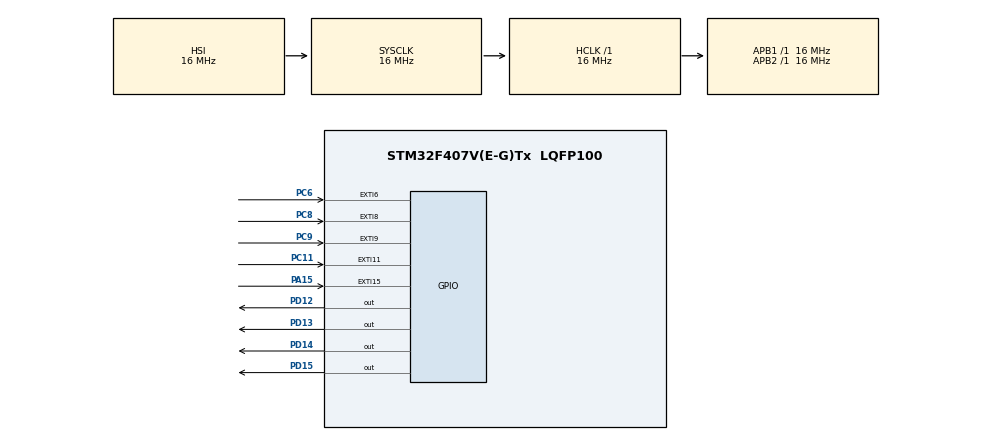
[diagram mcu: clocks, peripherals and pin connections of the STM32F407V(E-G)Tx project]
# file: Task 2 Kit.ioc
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Mcu.Family=STM32F4
Mcu.Name=STM32F407V(E-G)Tx
Mcu.Package=LQFP100
NVIC.EXTI15_10_IRQn=true\:0\:0\:false\:false\:true\:true\:true\:true
NVIC.EXTI9_5_IRQn=true\:0\:0\:false\:false\:true\:true\:true\:true
NVIC.PriorityGroup=NVIC_PRIORITYGROUP_4
PA15.GPIO_ModeDefaultEXTI=GPIO_MODE_IT_FALLING
PA15.Signal=GPXTI15
PC11.GPIO_ModeDefaultEXTI=GPIO_MODE_IT_FALLING
PC11.Signal=GPXTI11
PC6.GPIO_ModeDefaultEXTI=GPIO_MODE_IT_FALLING
PC6.GPIO_PuPd=GPIO_NOPULL
PC6.Signal=GPXTI6
PC8.GPIO_ModeDefaultEXTI=GPIO_MODE_IT_FALLING
PC8.GPIO_PuPd=GPIO_NOPULL
PC8.Signal=GPXTI8
PC9.GPIO_ModeDefaultEXTI=GPIO_MODE_IT_FALLING
PC9.GPIO_PuPd=GPIO_NOPULL
PC9.Signal=GPXTI9
PD12.Signal=GPIO_Output
PD13.Signal=GPIO_Output
PD14.Signal=GPIO_Output
PD15.Signal=GPIO_Output
ProjectManager.HeapSize=0x200
ProjectManager.StackSize=0x400
ProjectManager.TargetToolchain=STM32CubeIDE
RCC.AHBFreq_Value=16000000
RCC.APB1Freq_Value=16000000
RCC.APB2Freq_Value=16000000
RCC.CortexFreq_Value=16000000
RCC.HSE_VALUE=25000000
RCC.HSI_VALUE=16000000
RCC.LSE_VALUE=32768
RCC.SYSCLKFreq_VALUE=16000000
RCC.VCOOutputFreq_Value=192000000
board=custom

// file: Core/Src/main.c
/* USER CODE BEGIN Header */
/**
  ******************************************************************************
  * @file           : main.c
  * @brief          : Main program body
  ******************************************************************************
  * @attention
  *
  * Copyright (c) 2023 STMicroelectronics.
  * All rights reserved.
  *
  * This software is licensed under terms that can be found in the LICENSE file
  * in the root directory of this software component.
  * If no LICENSE file comes with this software, it is provided AS-IS.
  *
  ******************************************************************************
  */
/* USER CODE END Header */
#include "main.h"

void SystemClock_Config(void);
static void MX_GPIO_Init(void);

int main(void)
{

  /* MCU Configuration--------------------------------------------------------*/

  /* Reset of all peripherals, Initializes the Flash interface and the Systick. */
  HAL_Init();

  /* Configure the system clock */
  SystemClock_Config();

  /* Initialize all configured peripherals */
  MX_GPIO_Init();

  /* Infinite loop */
  /* USER CODE BEGIN WHILE */
  while (1)
	    {
	  	int speed = (getspeed());
	  	if (getlight())
	  	{
	  		switch (getmode())
	  		{
	  		case 1:
	  	  		HAL_Delay(speed);
	  	  		HAL_GPIO_WritePin(GPIOD, GPIO_PIN_12, GPIO_PIN_SET);
	  	  		HAL_Delay(speed);
	  	  		HAL_GPIO_WritePin(GPIOD, GPIO_PIN_12, GPIO_PIN_RESET);
	  	  		HAL_Delay(speed);
	  	  		HAL_GPIO_WritePin(GPIOD, GPIO_PIN_13, GPIO_PIN_SET);
	  	  		HAL_Delay(speed);
	  	  		HAL_GPIO_WritePin(GPIOD, GPIO_PIN_13, GPIO_PIN_RESET);
	  	  		HAL_Delay(speed);
	  	  		HAL_GPIO_WritePin(GPIOD, GPIO_PIN_14, GPIO_PIN_SET);
	  	  		HAL_Delay(speed);
	  	  		HAL_GPIO_WritePin(GPIOD, GPIO_PIN_14, GPIO_PIN_RESET);
	  	  		HAL_Delay(speed);
	  	  		HAL_GPIO_WritePin(GPIOD, GPIO_PIN_15, GPIO_PIN_SET);
	  	  		HAL_Delay(speed);
	  	  		HAL_GPIO_WritePin(GPIOD, GPIO_PIN_15, GPIO_PIN_RESET);
	  	  		break;
	  	  	case 2:
	  	  		HAL_Delay(speed);
	  	  		HAL_GPIO_WritePin(GPIOD, GPIO_PIN_15, GPIO_PIN_SET);
	  	  		HAL_Delay(speed);
	  	  		HAL_GPIO_WritePin(GPIOD, GPIO_PIN_15, GPIO_PIN_RESET);
	  	  		HAL_Delay(speed);
	  	  		HAL_GPIO_WritePin(GPIOD, GPIO_PIN_14, GPIO_PIN_SET);
	  	  		HAL_Delay(speed);
	  	  		HAL_GPIO_WritePin(GPIOD, GPIO_PIN_14, GPIO_PIN_RESET);
	  	  		HAL_Delay(speed);
	  	  		HAL_GPIO_WritePin(GPIOD, GPIO_PIN_13, GPIO_PIN_SET);
	  	  		HAL_Delay(speed);
	  	  		HAL_GPIO_WritePin(GPIOD, GPIO_PIN_13, GPIO_PIN_RESET);
	  	  		HAL_Delay(speed);
	  	  		HAL_GPIO_WritePin(GPIOD, GPIO_PIN_12, GPIO_PIN_SET);
	  	  		HAL_Delay(speed);
	  	  		HAL_GPIO_WritePin(GPIOD, GPIO_PIN_12, GPIO_PIN_RESET);
	  	  		break;
	  	  	case 3:
	  	  		HAL_Delay(speed);
	  	  		HAL_GPIO_WritePin(GPIOD, GPIO_PIN_14, GPIO_PIN_SET);
	  	  		HAL_Delay(speed);
	  	  		HAL_GPIO_WritePin(GPIOD, GPIO_PIN_14, GPIO_PIN_RESET);
	  	  		HAL_Delay(speed);
	  	  		HAL_GPIO_WritePin(GPIOD, GPIO_PIN_12, GPIO_PIN_SET);
	  	  		HAL_Delay(speed);
	  	  		HAL_GPIO_WritePin(GPIOD, GPIO_PIN_12, GPIO_PIN_RESET);
	  	  		HAL_Delay(speed);
	  	  		HAL_GPIO_WritePin(GPIOD, GPIO_PIN_15, GPIO_PIN_SET);
	  	  		HAL_Delay(speed);
	  	  		HAL_GPIO_WritePin(GPIOD, GPIO_PIN_15, GPIO_PIN_RESET);
	  	  		HAL_Delay(speed);
	  	  		HAL_GPIO_WritePin(GPIOD, GPIO_PIN_13, GPIO_PIN_SET);
	  	  		HAL_Delay(speed);
	  	  		HAL_GPIO_WritePin(GPIOD, GPIO_PIN_13, GPIO_PIN_RESET);
	  	  		break;
	  		}
	  	}
	  	else
	  		{
		  		HAL_GPIO_WritePin(GPIOD, GPIO_PIN_15, GPIO_PIN_RESET);
		  		HAL_GPIO_WritePin(GPIOD, GPIO_PIN_14, GPIO_PIN_RESET);
		  		HAL_GPIO_WritePin(GPIOD, GPIO_PIN_13, GPIO_PIN_RESET);
		  		HAL_GPIO_WritePin(GPIOD, GPIO_PIN_12, GPIO_PIN_RESET);
	  	  	}

    /* USER CODE END WHILE */

  }
}

void SystemClock_Config(void)
{
  RCC_OscInitTypeDef RCC_OscInitStruct = {0};
  RCC_ClkInitTypeDef RCC_ClkInitStruct = {0};

  /** Configure the main internal regulator output voltage
  */
  __HAL_RCC_PWR_CLK_ENABLE();
  __HAL_PWR_VOLTAGESCALING_CONFIG(PWR_REGULATOR_VOLTAGE_SCALE1);

  /** Initializes the RCC Oscillators according to the specified parameters
  * in the RCC_OscInitTypeDef structure.
  */
  RCC_OscInitStruct.OscillatorType = RCC_OSCILLATORTYPE_HSI;
  RCC_OscInitStruct.HSIState = RCC_HSI_ON;
  RCC_OscInitStruct.HSICalibrationValue = RCC_HSICALIBRATION_DEFAULT;
  RCC_OscInitStruct.PLL.PLLState = RCC_PLL_NONE;
  if (HAL_RCC_OscConfig(&RCC_OscInitStruct) != HAL_OK)
  {
    Error_Handler();
  }

  /** Initializes the CPU, AHB and APB buses clocks
  */
  RCC_ClkInitStruct.ClockType = RCC_CLOCKTYPE_HCLK|RCC_CLOCKTYPE_SYSCLK
                              |RCC_CLOCKTYPE_PCLK1|RCC_CLOCKTYPE_PCLK2;
  RCC_ClkInitStruct.SYSCLKSource = RCC_SYSCLKSOURCE_HSI;
  RCC_ClkInitStruct.AHBCLKDivider = RCC_SYSCLK_DIV1;
  RCC_ClkInitStruct.APB1CLKDivider = RCC_HCLK_DIV1;
  RCC_ClkInitStruct.APB2CLKDivider = RCC_HCLK_DIV1;

  if (HAL_RCC_ClockConfig(&RCC_ClkInitStruct, FLASH_LATENCY_0) != HAL_OK)
  {
    Error_Handler();
  }
}

static void MX_GPIO_Init(void)
{
  GPIO_InitTypeDef GPIO_InitStruct = {0};

  /* GPIO Ports Clock Enable */
  __HAL_RCC_GPIOD_CLK_ENABLE();
  __HAL_RCC_GPIOC_CLK_ENABLE();
  __HAL_RCC_GPIOA_CLK_ENABLE();

  /*Configure GPIO pin Output Level */
  HAL_GPIO_WritePin(GPIOD, GPIO_PIN_12|GPIO_PIN_13|GPIO_PIN_14|GPIO_PIN_15, GPIO_PIN_RESET);

  /*Configure GPIO pins : PD12 PD13 PD14 PD15 */
  GPIO_InitStruct.Pin = GPIO_PIN_12|GPIO_PIN_13|GPIO_PIN_14|GPIO_PIN_15;
  GPIO_InitStruct.Mode = GPIO_MODE_OUTPUT_PP;
  GPIO_InitStruct.Pull = GPIO_NOPULL;
  GPIO_InitStruct.Speed = GPIO_SPEED_FREQ_LOW;
  HAL_GPIO_Init(GPIOD, &GPIO_InitStruct);

  /*Configure GPIO pins : PC6 PC8 PC9 PC11 */
  GPIO_InitStruct.Pin = GPIO_PIN_6|GPIO_PIN_8|GPIO_PIN_9|GPIO_PIN_11;
  GPIO_InitStruct.Mode = GPIO_MODE_IT_FALLING;
  GPIO_InitStruct.Pull = GPIO_NOPULL;
  HAL_GPIO_Init(GPIOC, &GPIO_InitStruct);

  /*Configure GPIO pin : PA15 */
  GPIO_InitStruct.Pin = GPIO_PIN_15;
  GPIO_InitStruct.Mode = GPIO_MODE_IT_FALLING;
  GPIO_InitStruct.Pull = GPIO_NOPULL;
  HAL_GPIO_Init(GPIOA, &GPIO_InitStruct);

  /* EXTI interrupt init*/
  HAL_NVIC_SetPriority(EXTI9_5_IRQn, 0, 0);
  HAL_NVIC_EnableIRQ(EXTI9_5_IRQn);

  HAL_NVIC_SetPriority(EXTI15_10_IRQn, 0, 0);
  HAL_NVIC_EnableIRQ(EXTI15_10_IRQn);

}

void Error_Handler(void)
{
  __disable_irq();
  while (1)
  {
  }
}
